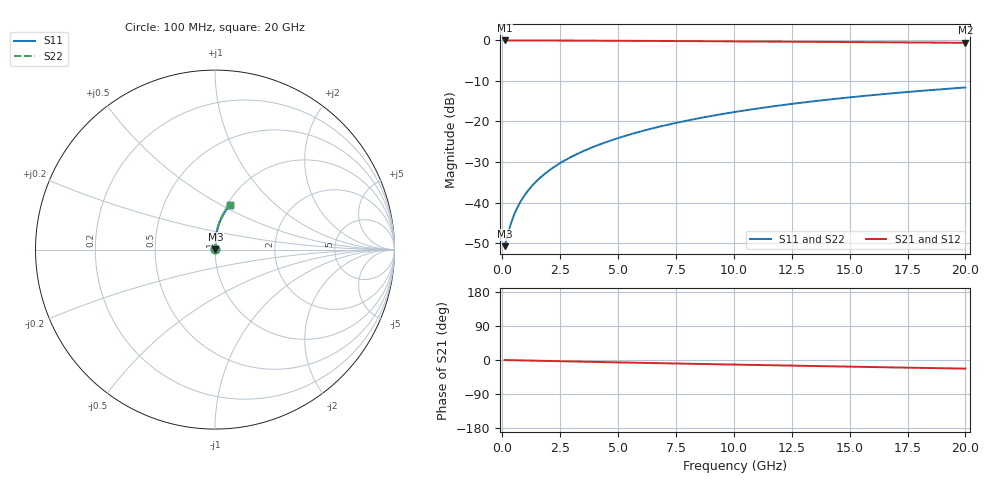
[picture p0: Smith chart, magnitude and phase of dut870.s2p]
! Touchstone file exported from HFSS 2024.1.0
!  File:  C:/UserFiles/LocalFiles/RDL_TSV_Batchsim/temp_RDL_top_870_1779856381.aedt
!  Generated:  12:35:20 PM May 27, 2026
!  Design:  RDL_top
!  Project:  temp_RDL_top_870_1779856381
!  Setup:  Setup1
!  Solution:  Sweep
! Variables:
!  dtsv = 10.80580581um
!  hbump = 3um
!  htsv = 59.63um
!  ldown = 100um
!  lrdl = 265.64um
!  p = 40
!  p1 = 51.62um
!  rhole = 1um
!  t = 450um
!  tdown = 3.915915916um
!  trdl = 2.09um
!  wdown = 15.38538539um
!  wrdl = 20.22um
# GHz S MA R 50.000000
! Terminal data exported
! Port[1] = Box2_T1
! Port[2] = Box2_T2
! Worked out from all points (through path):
!   200 points, 100 MHz to 20 GHz, reference 50 ohm
!   highest |S21| = -0.02 dB at 100 MHz (marker M1); lowest = -0.6 dB at 20 GHz (marker M2)
!   group delay of S21, straight-line fit = 3.14 ps
!   lowest |S11| = -50.7 dB at 100 MHz (marker M3), VSWR 1.01, Z = 50.3 + j0.131 ohm
!   |S11| at or under -10 dB: start of sweep to end of sweep
!   |S22| runs from -50.7 to -11.6 dB; largest |S21 - S12| = 5e-15
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0.1  0.002904 26.7  0.9974 -0.1  0.9974 -0.1  0.002904 26.7
! Gamma 0 0 0 0
! Port Impedance 50 0 50 0
0.3  0.004716 55.1  0.9973 -0.4  0.9973 -0.4  0.004716 55.1
0.4  0.005819 61.6  0.9972 -0.5  0.9972 -0.5  0.005819 61.6
0.5  0.006956 66.0  0.9971 -0.7  0.9971 -0.7  0.006956 66.0
0.6  0.008105 69.0  0.997 -0.8  0.997 -0.8  0.008105 69.0
0.7  0.009261 71.4  0.9969 -0.9  0.9969 -0.9  0.009261 71.4
0.9  0.01158 74.7  0.9966 -1.2  0.9966 -1.2  0.01158 74.7
1.2  0.01509 77.9  0.9963 -1.6  0.9963 -1.6  0.01509 77.9
1.4  0.01745 79.4  0.9961 -1.8  0.9961 -1.8  0.01745 79.4
1.7  0.02102 81.1  0.9957 -2.2  0.9957 -2.2  0.02102 81.1
2.2  0.02705 82.9  0.9949 -2.8  0.9949 -2.8  0.02705 82.9
2.8  0.0344 84.2  0.9939 -3.6  0.9939 -3.6  0.0344 84.2
3.5  0.04314 85.0  0.9924 -4.5  0.9924 -4.5  0.04314 85.0
4.2  0.05206 85.4  0.9907 -5.3  0.9907 -5.3  0.05206 85.4
5  0.06245 85.6  0.9886 -6.3  0.9886 -6.3  0.06245 85.6
5.9  0.07437 85.4  0.9859 -7.4  0.9859 -7.4  0.07437 85.4
6.8  0.08649 85.0  0.9831 -8.5  0.9831 -8.5  0.08649 85.0
8.4  0.1084 83.8  0.9778 -10.3  0.9778 -10.3  0.1084 83.8
10.1  0.1318 82.3  0.9718 -12.2  0.9718 -12.2  0.1318 82.3
13.4  0.177 78.7  0.9596 -15.8  0.9596 -15.8  0.177 78.7
16.7  0.2207 75.0  0.9466 -19.4  0.9466 -19.4  0.2207 75.0
20  0.2626 71.3  0.9328 -22.8  0.9328 -22.8  0.2626 71.3
